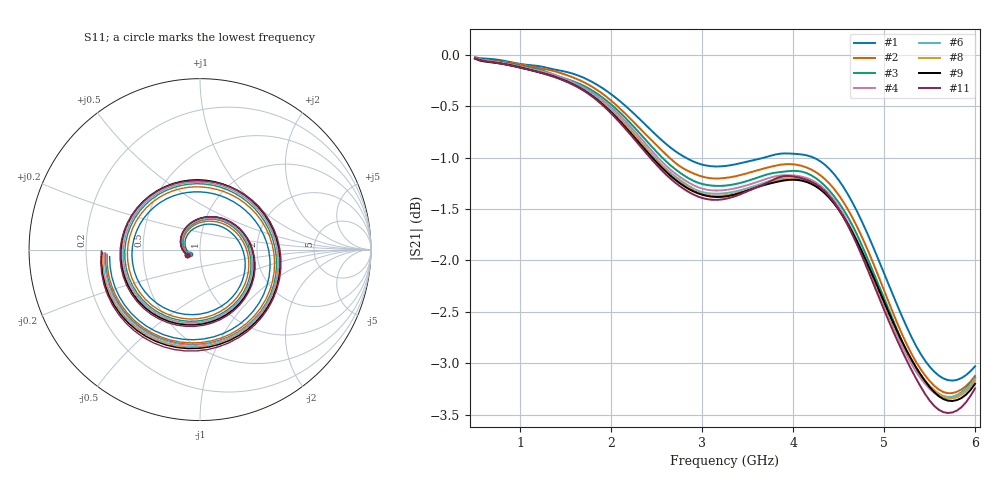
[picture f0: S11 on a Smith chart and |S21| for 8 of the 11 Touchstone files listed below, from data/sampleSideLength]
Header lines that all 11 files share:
! Exported from HFSS-IE 2014.0.2
! Variables:
# GHZ S MA R 157.900000
! Terminal data exported
! Port[1] = Rectangle2_T1
! Port[2] = Rectangle2_T2
Fixed: $perm = 6, impedance = 157.9ohm, insulationThickness = 0in, length = 4in, portSize = 1mm, sampleThickness = 0.25in, spacing = 0.25in, wireDiam = 0.125in, wireRadius = 0.0625in
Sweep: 500 MHz to 6 GHz
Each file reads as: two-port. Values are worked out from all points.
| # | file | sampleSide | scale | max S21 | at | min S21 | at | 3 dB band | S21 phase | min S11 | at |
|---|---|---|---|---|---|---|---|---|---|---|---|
| 1 | scale-3.s2p | 0.3875in | 3.1 | -0.02 dB | 500 MHz | -3.2 dB | 5.75 GHz | 500 MHz-5.45 GHz | -78 deg at 3.25 GHz | -23.8 dB | 500 MHz |
| 2 | scale-4.s2p | 0.5in | 4 | -0.03 dB | 500 MHz | -3.3 dB | 5.7 GHz | 500 MHz-5.35 GHz | -80 deg at 3.25 GHz | -22.9 dB | 500 MHz |
| 3 | scale-5.s2p | 0.625in | 5 | -0.03 dB | 500 MHz | -3.3 dB | 5.7 GHz | 500 MHz-5.3 GHz | -81 deg at 3.25 GHz | -22.4 dB | 500 MHz |
| 4 | scale-6.s2p | 0.75in | 6 | -0.03 dB | 500 MHz | -3.3 dB | 5.7 GHz | 500 MHz-5.3 GHz | -82 deg at 3.25 GHz | -22.1 dB | 500 MHz |
| 5 | scale-7.s2p | 0.875in | 7 | -0.03 dB | 500 MHz | -3.3 dB | 5.7 GHz | 500 MHz-5.3 GHz | -82 deg at 3.25 GHz | -22.0 dB | 500 MHz |
| 6 | scale-8.s2p | 1in | 8 | -0.04 dB | 500 MHz | -3.3 dB | 5.7 GHz | 500 MHz-5.3 GHz | -82 deg at 3.25 GHz | -21.8 dB | 500 MHz |
| 7 | scale-9.s2p | 1.125in | 9 | -0.04 dB | 500 MHz | -3.3 dB | 5.7 GHz | 500 MHz-5.3 GHz | -82 deg at 3.25 GHz | -21.8 dB | 500 MHz |
| 8 | scale-10.s2p | 1.25in | 10 | -0.04 dB | 500 MHz | -3.3 dB | 5.75 GHz | 500 MHz-5.3 GHz | -82 deg at 3.25 GHz | -21.7 dB | 500 MHz |
| 9 | scale-12.s2p | 1.5in | 12 | -0.04 dB | 500 MHz | -3.4 dB | 5.75 GHz | 500 MHz-5.35 GHz | -83 deg at 3.25 GHz | -21.6 dB | 500 MHz |
| 10 | scale-15.s2p | 1.875in | 15 | -0.04 dB | 500 MHz | -3.4 dB | 5.7 GHz | 500 MHz-5.3 GHz | -83 deg at 3.25 GHz | -21.5 dB | 500 MHz |
| 11 | scale-20.s2p | 2.5in | 20 | -0.04 dB | 500 MHz | -3.5 dB | 5.7 GHz | 500 MHz-5.25 GHz | -83 deg at 3.25 GHz | -21.5 dB | 500 MHz |
